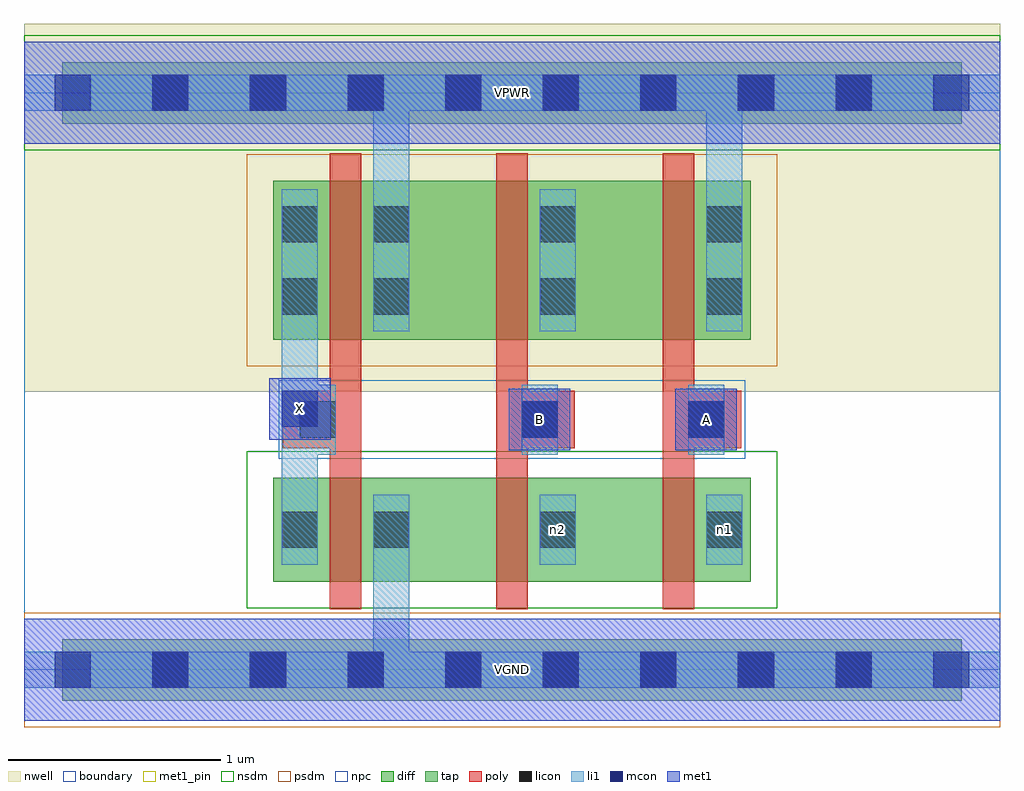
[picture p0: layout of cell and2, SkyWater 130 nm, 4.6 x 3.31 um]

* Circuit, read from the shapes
.subckt and2 A B VGND VPWR X n1 n2
XM1 VGND X X VGND sky130_fd_pr__nfet_01v8 w=0.49 l=0.15
XM2 n2 B VGND VGND sky130_fd_pr__nfet_01v8 w=0.49 l=0.15
XM3 n1 A n2 VGND sky130_fd_pr__nfet_01v8 w=0.49 l=0.15
XM4 VPWR X X VPWR sky130_fd_pr__pfet_01v8 w=0.75 l=0.15
XM5 n3 B VPWR VPWR sky130_fd_pr__pfet_01v8 w=0.75 l=0.15
XM6 VPWR A n3 VPWR sky130_fd_pr__pfet_01v8 w=0.75 l=0.15
.ends

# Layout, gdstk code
import gdstk
lib = gdstk.Library(unit=1e-6, precision=1e-09)
def R(c, l, rs):  # rectangles x0, y0, x1, y1
    for r in rs: c.add(gdstk.rectangle(r[:2], r[2:], *l))
def A(c, l, x, y, w, h, nx, ny, dx, dy):  # array of equal rectangles
    R(c, l, [(x+i*dx, y+j*dy, x+i*dx+w, y+j*dy+h) for i in range(nx) for j in range(ny)])
nwell = (64, 20)
diff = (65, 20)
tap = (65, 44)
poly = (66, 20)
licon = (66, 44)
li1 = (67, 20)
mcon = (67, 44)
met1_pin = (68, 16)
met1 = (68, 20)
nsdm = (93, 44)
psdm = (94, 20)
npc = (95, 20)
boundary = (235, 4)

and2 = lib.new_cell('and2')
R(and2, nwell, [(0,1.31,4.6,3.045)])
R(and2, diff, [(1.175,0.415,3.425,0.905), (1.175,1.555,3.425,2.305)])
R(and2, tap, [(0.18,-0.145,4.42,0.145), (0.18,2.575,4.42,2.865)])
A(and2, poly, 1.44, 0.285, 0.15, 2.15, 3, 1, 0.785, 0)
R(and2, poly, [(1.22,1.045,1.55,1.315), (2.265,1.045,2.595,1.315), (3.05,1.045,3.38,1.315)])
A(and2, licon, 0.605, -0.085, 0.17, 0.17, 8, 2, 0.46, 2.72)
A(and2, licon, 1.645, 0.575, 0.17, 0.17, 3, 2, 0.785, 1.1)
A(and2, licon, 1.645, 2.015, 0.17, 0.17, 3, 1, 0.785, 0)
R(and2, licon, [(1.215,0.575,1.385,0.745), (1.3,1.095,1.47,1.265), (2.345,1.095,2.515,1.265), (3.13,1.095,3.3,1.265), (1.215,1.675,1.385,1.845), (1.215,2.015,1.385,2.185)])
A(and2, li1, 1.645, 0.495, 0.17, 0.33, 3, 1, 0.785, 0)
A(and2, li1, 1.645, 1.595, 0.17, 0.67, 3, 1, 0.785, 0)
R(and2, li1, [(0,-0.085,4.6,0.085), (1.645,-0.085,1.815,0.825), (1.215,0.495,1.385,0.825), (1.215,0.495,1.385,2.265), (1.3,1.015,1.47,1.345), (2.345,1.015,2.515,1.345), (3.13,1.015,3.3,1.345), (1.215,1.595,1.385,2.265), (1.645,1.595,1.815,2.805), (3.215,1.595,3.385,2.805), (0,2.635,4.6,2.805)])
A(and2, mcon, 0.145, -0.085, 0.17, 0.17, 10, 2, 0.46, 2.72)
R(and2, mcon, [(2.345,1.095,2.515,1.265), (3.13,1.095,3.3,1.265), (1.215,1.145,1.385,1.315)])
R(and2, met1_pin, [(0,-0.24,4.6,0.24), (2.285,1.035,2.575,1.325), (3.07,1.035,3.36,1.325), (1.155,1.085,1.445,1.375), (0,2.48,4.6,2.96)])
R(and2, met1, [(0,-0.24,4.6,0.24), (2.285,1.035,2.575,1.325), (3.07,1.035,3.36,1.325), (1.155,1.085,1.445,1.375), (0,2.48,4.6,2.96)])
R(and2, nsdm, [(1.05,0.29,3.55,1.03), (0,2.45,4.6,2.99)])
R(and2, psdm, [(0,-0.27,4.6,0.27), (1.05,1.43,3.55,2.43)])
R(and2, npc, [(1.2,0.995,3.4,1.365)])
R(and2, boundary, [(0,0,4.6,2.72)])
and2.add(gdstk.Label('n2', (2.515,0.66), layer=67, texttype=5))
and2.add(gdstk.Label('n1', (3.3,0.66), layer=67, texttype=5))
and2.add(gdstk.Label('A', (3.215,1.18), layer=68, texttype=5))
and2.add(gdstk.Label('B', (2.43,1.18), layer=68, texttype=5))
and2.add(gdstk.Label('X', (1.3,1.23), layer=68, texttype=5))
and2.add(gdstk.Label('VPWR', (2.3,2.72), layer=68, texttype=5))
and2.add(gdstk.Label('VGND', (2.3,0), layer=68, texttype=5))
and2.add(gdstk.Label('A', (3.215,1.18), layer=68, texttype=16))
and2.add(gdstk.Label('B', (2.43,1.18), layer=68, texttype=16))
and2.add(gdstk.Label('X', (1.3,1.23), layer=68, texttype=16))
and2.add(gdstk.Label('VPWR', (2.3,2.72), layer=68, texttype=16))
and2.add(gdstk.Label('VGND', (2.3,0), layer=68, texttype=16))

lib.write_gds('and2.gds')
